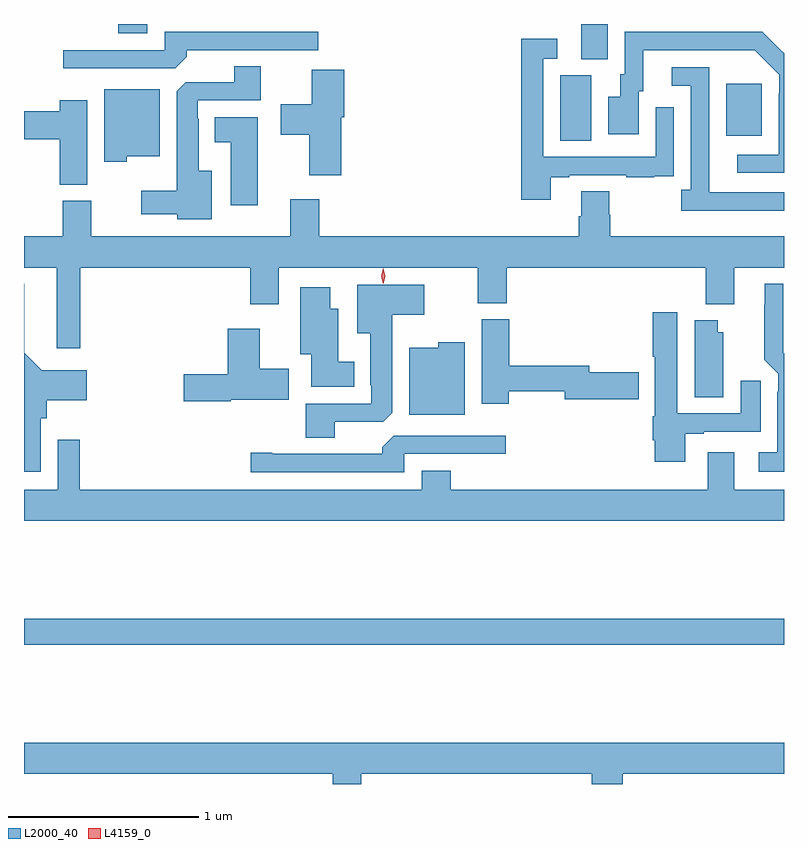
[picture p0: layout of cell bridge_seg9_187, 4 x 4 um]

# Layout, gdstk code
import gdstk
lib = gdstk.Library(unit=1e-6, precision=1e-09)
def R(c, l, rs):  # rectangles x0, y0, x1, y1
    for r in rs: c.add(gdstk.rectangle(r[:2], r[2:], *l))
def P(c, l, *ps):  # polygons
    for p in ps: c.add(gdstk.Polygon(p, *l))
L2000_40 = (2000, 40)
L4159_0 = (4159, 0)

bridge_seg9_187 = lib.new_cell('bridge_seg9_187')
R(bridge_seg9_187, L2000_40, [(180.258,1210.42,184.258,1210.556), (183.08,1213.072,183.244,1213.416), (183.953,1213.097,184.141,1213.372), (183.191,1213.501,183.331,1213.686), (180.755,1213.637,180.907,1213.686)])
P(bridge_seg9_187, L2000_40, [(181.115,1213.514),(181.115,1213.548),(181.807,1213.548),(181.807,1213.644),(180.999,1213.644),(180.999,1213.548),(180.465,1213.548),(180.465,1213.452),(181.053,1213.452)],
  [(184.258,1213.532),(184.236,1213.554),(184.235,1213.553),(184.144,1213.644),(183.42,1213.644),(183.42,1213.422),(183.395,1213.422),(183.395,1213.303),(183.332,1213.303),(183.332,1213.107),(183.493,1213.107),(183.493,1213.332),(183.517,1213.332),(183.517,1213.548),(184.105,1213.548),(184.233,1213.419),(184.233,1213.319),(184.23,1213.319),(184.23,1212.999),(184.011,1212.999),(184.011,1212.903),(184.258,1212.903)],
  [(183.031,1212.879),(183.127,1212.879),(183.127,1212.891),(183.427,1212.891),(183.427,1212.879),(183.575,1212.879),(183.575,1212.885),(183.677,1212.885),(183.677,1212.994),(183.678,1212.994),(183.678,1213.249),(183.582,1213.249),(183.582,1212.987),(182.991,1212.987),(182.991,1213.503),(183.064,1213.503),(183.064,1213.609),(182.875,1213.609),(182.875,1212.762),(183.031,1212.762)],
  [(181.246,1212.913),(181.177,1212.913),(181.177,1213.187),(181.173,1213.187),(181.173,1213.284),(181.504,1213.284),(181.504,1213.463),(181.364,1213.463),(181.364,1213.38),(181.11,1213.38),(181.061,1213.331),(181.061,1212.808),(180.876,1212.808),(180.876,1212.686),(181.065,1212.686),(181.065,1212.659),(181.246,1212.659)],
  [(184.258,1212.801),(183.865,1212.801),(183.865,1213.001),(183.864,1213.001),(183.864,1213.458),(183.666,1213.458),(183.666,1213.362),(183.768,1213.362),(183.768,1212.814),(183.717,1212.814),(183.717,1212.704),(184.258,1212.704)],
  [(181.928,1213.195),(181.943,1213.195),(181.943,1213.444),(181.772,1213.444),(181.772,1213.264),(181.608,1213.264),(181.608,1213.102),(181.76,1213.102),(181.76,1212.891),(181.928,1212.891)],
  [(180.798,1212.989),(180.973,1212.989),(180.973,1213.342),(180.68,1213.342),(180.68,1212.962),(180.798,1212.962)],
  [(180.592,1213.285),(180.446,1213.285),(180.446,1213.226),(180.258,1213.226),(180.258,1213.079),(180.446,1213.079),(180.446,1212.841),(180.592,1212.841)],
  [(181.489,1213.195),(181.262,1213.195),(181.262,1213.064),(181.346,1213.064),(181.346,1212.732),(181.489,1212.732)],
  [(180.554,1212.404),(181.448,1212.404),(181.448,1212.21),(181.6,1212.21),(181.6,1212.404),(182.645,1212.404),(182.645,1212.217),(182.798,1212.217),(182.798,1212.404),(183.845,1212.404),(183.845,1212.212),(183.997,1212.212),(183.997,1212.404),(184.258,1212.404),(184.258,1212.568),(183.344,1212.568),(183.344,1212.681),(183.339,1212.681),(183.339,1212.806),(183.191,1212.806),(183.191,1212.674),(183.179,1212.674),(183.179,1212.568),(181.811,1212.568),(181.811,1212.763),(181.658,1212.763),(181.658,1212.568),(180.613,1212.568),(180.613,1212.756),(180.461,1212.756),(180.461,1212.568),(180.258,1212.568),(180.258,1212.404),(180.431,1212.404),(180.431,1211.979),(180.554,1211.979)],
  [(184.258,1211.953),(184.255,1211.956),(184.255,1212.319),(184.157,1212.319),(184.157,1212.209),(184.153,1212.209),(184.153,1211.918),(184.227,1211.844),(184.227,1211.75),(184.223,1211.75),(184.223,1211.431),(184.125,1211.431),(184.125,1211.33),(184.258,1211.33)],
  [(180.346,1211.61),(180.377,1211.61),(180.377,1211.705),(180.589,1211.705),(180.589,1211.863),(180.351,1211.863),(180.259,1211.956),(180.259,1212.319),(180.258,1212.319),(180.258,1211.33),(180.346,1211.33)],
  [(181.894,1211.592),(182.148,1211.592),(182.197,1211.641),(182.197,1212.155),(182.365,1212.155),(182.365,1212.313),(182.012,1212.313),(182.012,1212.059),(182.081,1212.059),(182.081,1211.785),(182.085,1211.785),(182.085,1211.688),(181.742,1211.688),(181.742,1211.509),(181.894,1211.509)],
  [(181.996,1211.908),(181.912,1211.908),(181.912,1212.187),(181.87,1212.187),(181.87,1212.301),(181.712,1212.301),(181.712,1211.948),(181.769,1211.948),(181.769,1211.777),(181.996,1211.777)],
  [(183.739,1211.529),(183.835,1211.529),(183.835,1211.541),(184.135,1211.541),(184.135,1211.809),(184.031,1211.809),(184.031,1211.637),(183.697,1211.637),(183.697,1212.169),(183.566,1212.169),(183.566,1211.935),(183.578,1211.935),(183.578,1211.621),(183.566,1211.621),(183.566,1211.494),(183.578,1211.494),(183.578,1211.382),(183.739,1211.382)],
  [(182.808,1211.752),(183.104,1211.752),(183.104,1211.71),(183.493,1211.71),(183.493,1211.852),(183.232,1211.852),(183.232,1211.888),(182.813,1211.888),(182.813,1212.132),(182.666,1212.132),(182.666,1211.688),(182.808,1211.688)],
  [(183.937,1212.063),(183.91,1212.063),(183.91,1212.127),(183.788,1212.127),(183.788,1211.722),(183.937,1211.722)],
  [(181.347,1211.708),(181.651,1211.708),(181.651,1211.871),(181.498,1211.871),(181.498,1212.082),(181.331,1212.082),(181.331,1211.843),(181.098,1211.843),(181.098,1211.701),(181.347,1211.701)],
  [(182.578,1212.01),(182.439,1212.01),(182.439,1211.983),(182.285,1211.983),(182.285,1211.63),(182.578,1211.63)],
  [(182.259,1211.424),(182.794,1211.424),(182.794,1211.52),(182.205,1211.52),(182.144,1211.458),(182.144,1211.424),(181.564,1211.424),(181.564,1211.429),(181.452,1211.429),(181.452,1211.328),(182.259,1211.328)],
  [(184.258,1211.236),(183.997,1211.236),(183.997,1211.431),(183.857,1211.431),(183.857,1211.236),(182.504,1211.236),(182.504,1211.335),(182.351,1211.335),(182.351,1211.236),(180.551,1211.236),(180.551,1211.497),(180.435,1211.497),(180.435,1211.236),(180.258,1211.236),(180.258,1211.072),(184.258,1211.072)],
  [(182.034,1209.74),(183.245,1209.74),(183.245,1209.686),(183.41,1209.686),(183.41,1209.74),(184.258,1209.74),(184.258,1209.904),(180.258,1209.904),(180.258,1209.74),(181.883,1209.74),(181.883,1209.686),(182.034,1209.686)])
P(bridge_seg9_187, L4159_0, [(182.149,1212.318),(182.139,1212.359),(182.149,1212.399),(182.15,1212.4),(182.15,1212.399),(182.16,1212.359),(182.15,1212.318),(182.15,1212.318)])

lib.write_gds('bridge_seg9_187.gds')
